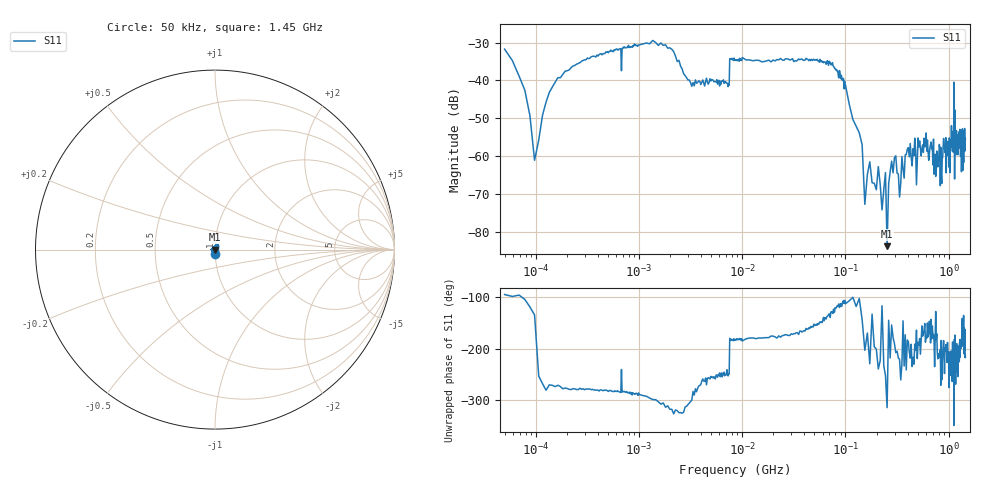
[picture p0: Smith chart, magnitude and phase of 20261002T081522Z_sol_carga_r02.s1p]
! prueba_sol / sol_carga / r02
# HZ S RI R 50
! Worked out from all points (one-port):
!   501 points, 50 kHz to 1.45 GHz, reference 50 ohm
!   lowest |S11| = -83.8 dB at 253 MHz (marker M1), VSWR 1.00, Z = 50 + j0.0046 ohm
!   |S11| at or under -10 dB: start of sweep to end of sweep
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50000  -0.00241 -0.0258
107000  -0.000464 0.00155
183000  0.00163 0.0119
658000  0.0066 0.0255
1540000  0.0158 0.0243
2440000  0.0149 0.0108
3250000  0.00414 0.00725
7300000  -0.00245 0.00789
7750000  -0.0191 0.0012
8560000  -0.0187 0.000698
3.16e7  -0.0175 -0.00277
7.57e7  -0.0105 -0.0117
1.18e8  -0.000564 -0.00299
1.72e8  -0.000547 0.000638
2.53e8  4.5e-05 4.6e-05
2.89e8  -0.0006 -1.6e-05
3.52e8  -0.00063 0.000751
4.06e8  -0.00128 0.000138
6.04e8  -0.00201 -0.000144
8.47e8  -0.00056 4e-05
8.92e8  -0.0017 0.000133
1.108e9  -0.00117 0.00162
1.126e9  -0.00113 0.000869
1.135e9  -0.00411 0.00014
1.1665e9  -2.3e-05 0.00115
1.27e9  -0.00145 0.000831
1.3825e9  -0.00144 -0.000231
1.45e9  -0.00138 0.000989
